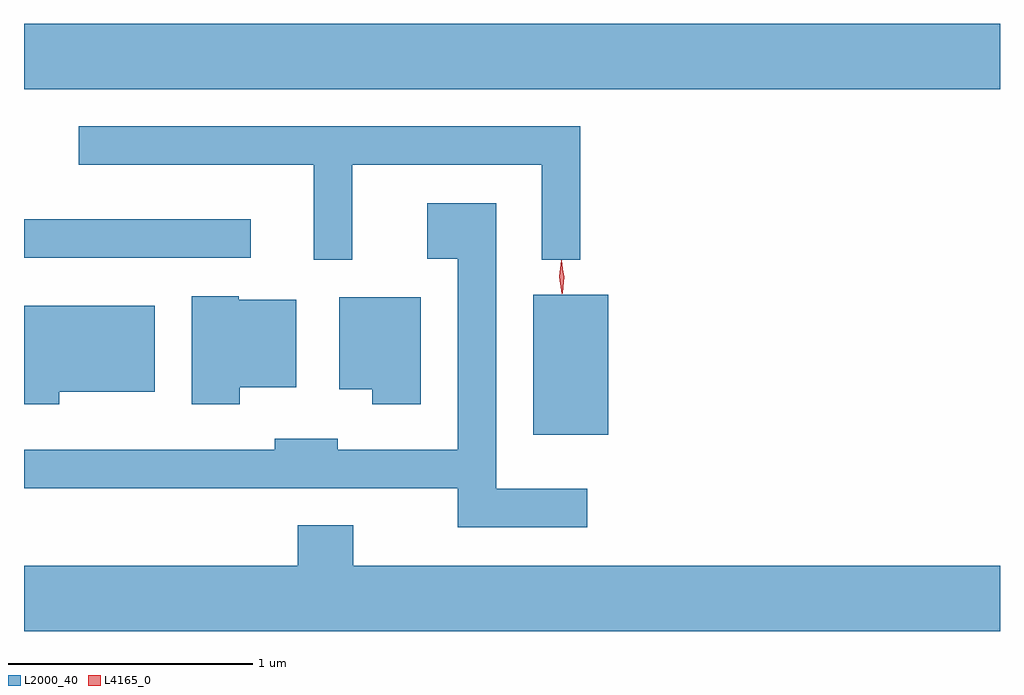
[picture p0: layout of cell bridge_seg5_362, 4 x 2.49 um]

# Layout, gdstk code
import gdstk
lib = gdstk.Library(unit=1e-6, precision=1e-09)
def R(c, l, rs):  # rectangles x0, y0, x1, y1
    for r in rs: c.add(gdstk.rectangle(r[:2], r[2:], *l))
def P(c, l, *ps):  # polygons
    for p in ps: c.add(gdstk.Polygon(p, *l))
L2000_40 = (2000, 40)
L4165_0 = (4165, 0)

bridge_seg5_362 = lib.new_cell('bridge_seg5_362')
R(bridge_seg5_362, L2000_40, [(551.546,1473.141,551.854,1473.714), (549.459,1473.866,550.388,1474.024), (549.459,1474.556,553.459,1474.824)])
P(bridge_seg5_362, L2000_40, [(550.804,1474.246),(551.581,1474.246),(551.581,1473.858),(551.739,1473.858),(551.739,1474.404),(549.683,1474.404),(549.683,1474.246),(550.646,1474.246),(550.646,1473.858),(550.804,1473.858)],
  [(551.768,1472.919),(551.394,1472.919),(551.394,1474.089),(551.111,1474.089),(551.111,1473.861),(551.236,1473.861),(551.236,1473.079),(550.744,1473.079),(550.744,1473.124),(550.486,1473.124),(550.486,1473.079),(549.459,1473.079),(549.459,1472.921),(551.236,1472.921),(551.236,1472.761),(551.768,1472.761)],
  [(550.344,1473.336),(550.574,1473.336),(550.574,1473.694),(550.34,1473.694),(550.34,1473.709),(550.146,1473.709),(550.146,1473.266),(550.344,1473.266)],
  [(551.084,1473.704),(550.751,1473.704),(550.751,1473.326),(550.886,1473.326),(550.886,1473.266),(551.084,1473.266)],
  [(549.604,1473.316),(549.994,1473.316),(549.994,1473.669),(549.459,1473.669),(549.459,1473.266),(549.604,1473.266)],
  [(553.459,1472.604),(550.809,1472.604),(550.809,1472.769),(550.581,1472.769),(550.581,1472.604),(549.459,1472.604),(549.459,1472.336),(553.459,1472.336)])
P(bridge_seg5_362, L4165_0, [(551.664,1473.718),(551.663,1473.719),(551.652,1473.787),(551.661,1473.855),(551.661,1473.856),(551.662,1473.855),(551.672,1473.787),(551.664,1473.719)],
  [(551.666,1473.721),(551.666,1473.722),(551.654,1473.786),(551.66,1473.852),(551.66,1473.852),(551.661,1473.852),(551.673,1473.787),(551.667,1473.722)])

lib.write_gds('bridge_seg5_362.gds')
